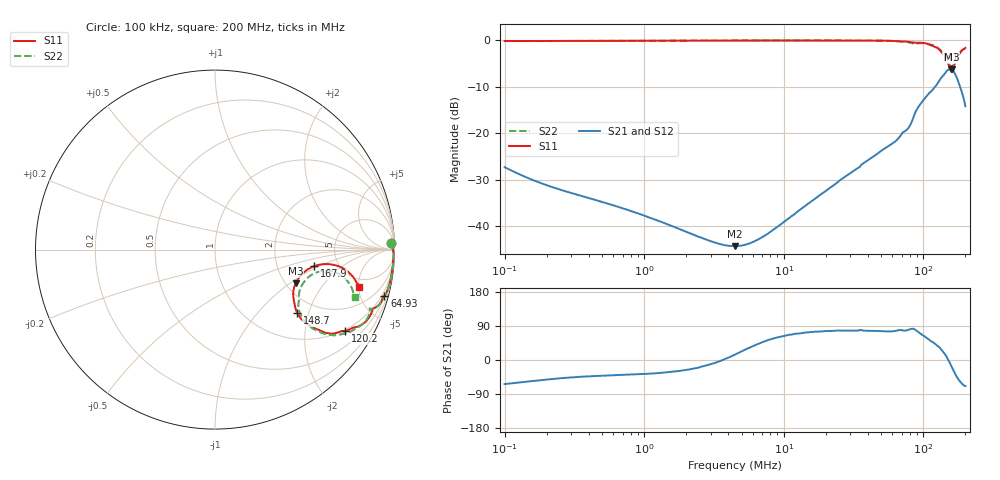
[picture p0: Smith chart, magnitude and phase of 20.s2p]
#  HZ  S  RI  R  50.00
! Rohde & Schwarz Vector Network Analyzer
! Rohde-Schwarz,ZNLE6-2Port,1323001256200024,1.71.1.10-23.02.1.238
! Created: UTC 4/7/2025, 7:17:39 AM
! freq[Hz]  re:S11  im:S11  re:S21  im:S21  re:S12  im:S12  re:S22  im:S22
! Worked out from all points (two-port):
!   1001 points, 100 kHz to 200 MHz, reference 50 ohm
!   highest |S21| = -6.17 dB at 156.8 MHz (marker M1); lowest = -44.3 dB at 4.438 MHz (marker M2)
!   |S21| within 3 dB of the highest: 127.3 MHz to 179.2 MHz (51.95 MHz wide, 33.9 % of centre)
!   lowest |S11| = -6.2 dB at 159.2 MHz (marker M3), VSWR 2.90, Z = 113 - j55.4 ohm
!   |S11| at or under -10 dB: nowhere
!   |S22| runs from -5.6 to 0.0 dB; largest |S21 - S12| = 0.016
!   S11 on the Smith chart (normalised r, x): 100 kHz: 20, +42; 64.93 MHz: 0.65, -7.46; 120.2 MHz: 0.97, -3.22; 148.7 MHz: 1.59, -1.69; 167.9 MHz: 3.30, -0.88; 200 MHz: 3.81, -5.06
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100000  0.981 0.0382  0.0192 -0.0386  0.0193 -0.0387  0.981 0.0382
355854.1  0.9849 0.0137  0.0152 -0.0147  0.0152 -0.0147  0.9851 0.0137
1266322  0.9906 0.00333  0.0094 -0.00647  0.00942 -0.00649  0.9906 0.00311
3128719  0.9932 -0.00706  0.00666 -0.00107  0.00663 -0.00112  0.9938 -0.00696
4438273  0.9939 -0.0128  0.00592 0.00145  0.00592 0.00136  0.9947 -0.0126
4472136  0.9939 -0.0129  0.00591 0.0015  0.00591 0.00142  0.9946 -0.013
7110135  0.9947 -0.0236  0.00518 0.00572  0.00529 0.00561  0.9949 -0.0239
1.591428e7  0.9938 -0.0575  0.00522 0.018  0.00541 0.0179  0.9942 -0.0597
3.616581e7  0.9841 -0.1349  0.00932 0.0454  0.0106 0.0449  0.9838 -0.1383
5.663162e7  0.9629 -0.2212  0.0183 0.0709  0.0203 0.07  0.9611 -0.2271
6.493481e7  0.9434 -0.2558  0.0182 0.0833  0.0191 0.0829  0.9406 -0.2662
7.852416e7  0.9094 -0.3118  0.0201 0.1134  0.0243 0.1124  0.8926 -0.3245
8.667956e7  0.8808 -0.3288  0.0261 0.1594  0.0316 0.1589  0.8613 -0.3272
1.016807e8  0.845 -0.3953  0.107 0.2075  0.1129 0.2056  0.844 -0.3916
1.20188e8  0.7242 -0.4521  0.2255 0.2155  0.2303 0.2123  0.7364 -0.4646
1.357305e8  0.5833 -0.4493  0.3635 0.1716  0.3607 0.1671  0.5939 -0.4634
1.486928e8  0.4587 -0.354  0.4747 0.0368  0.4722 0.0284  0.4733 -0.3533
1.568184e8  0.4368 -0.2285  0.4807 -0.1026  0.476 -0.1115  0.4691 -0.2387
1.592205e8  0.4504 -0.1867  0.4659 -0.146  0.4596 -0.1576  0.4818 -0.2027
1.679215e8  0.5533 -0.0919  0.3599 -0.2533  0.3496 -0.2639  0.5741 -0.1242
1.83958e8  0.7312 -0.1149  0.167 -0.2621  0.158 -0.2683  0.7297 -0.1654
2e8  0.8027 -0.2076  0.0704 -0.1821  0.0657 -0.1859  0.7776 -0.265
